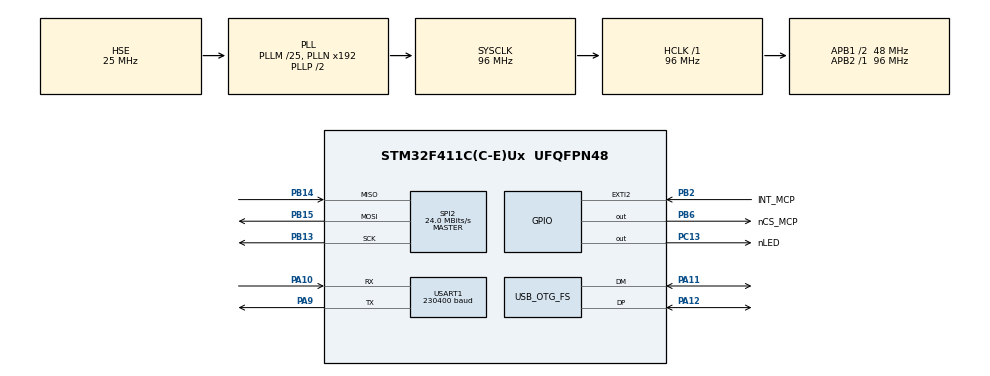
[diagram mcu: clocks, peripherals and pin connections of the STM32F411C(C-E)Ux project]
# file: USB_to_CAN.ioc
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Dma.Request0=USART1_RX
Dma.USART1_RX.0.Direction=DMA_PERIPH_TO_MEMORY
Dma.USART1_RX.0.FIFOMode=DMA_FIFOMODE_DISABLE
Dma.USART1_RX.0.Instance=DMA2_Stream2
Dma.USART1_RX.0.MemDataAlignment=DMA_MDATAALIGN_BYTE
Dma.USART1_RX.0.MemInc=DMA_MINC_ENABLE
Dma.USART1_RX.0.Mode=DMA_NORMAL
Dma.USART1_RX.0.PeriphDataAlignment=DMA_PDATAALIGN_BYTE
Dma.USART1_RX.0.PeriphInc=DMA_PINC_DISABLE
Dma.USART1_RX.0.Priority=DMA_PRIORITY_VERY_HIGH
Mcu.Family=STM32F4
Mcu.Name=STM32F411C(C-E)Ux
Mcu.Package=UFQFPN48
NVIC.DMA2_Stream2_IRQn=true\:0\:0\:false\:false\:true\:false\:true\:true
NVIC.OTG_FS_IRQn=true\:0\:0\:false\:false\:true\:true\:true\:true
NVIC.PriorityGroup=NVIC_PRIORITYGROUP_4
NVIC.USART1_IRQn=true\:0\:0\:false\:false\:true\:true\:true\:true
PA10.Mode=Asynchronous
PA10.Signal=USART1_RX
PA11.Mode=Device_Only
PA11.Signal=USB_OTG_FS_DM
PA12.Mode=Device_Only
PA12.Signal=USB_OTG_FS_DP
PA13.Mode=Serial_Wire
PA13.Signal=SYS_JTMS-SWDIO
PA14.Mode=Serial_Wire
PA14.Signal=SYS_JTCK-SWCLK
PA9.Mode=Asynchronous
PA9.Signal=USART1_TX
PB13.Mode=Full_Duplex_Master
PB13.Signal=SPI2_SCK
PB14.Mode=Full_Duplex_Master
PB14.Signal=SPI2_MISO
PB15.Mode=Full_Duplex_Master
PB15.Signal=SPI2_MOSI
PB2.GPIO_Label=INT_MCP
PB2.Signal=GPXTI2
PB6.GPIO_Label=nCS_MCP
PB6.Signal=GPIO_Output
PC13-ANTI_TAMP.GPIO_Label=nLED
PC13-ANTI_TAMP.PinState=GPIO_PIN_SET
PC13-ANTI_TAMP.Signal=GPIO_Output
PC14-OSC32_IN.Mode=LSE-External-Oscillator
PC14-OSC32_IN.Signal=RCC_OSC32_IN
PC15-OSC32_OUT.Mode=LSE-External-Oscillator
PC15-OSC32_OUT.Signal=RCC_OSC32_OUT
PH0\ -\ OSC_IN.Mode=HSE-External-Oscillator
PH0\ -\ OSC_IN.Signal=RCC_OSC_IN
PH1\ -\ OSC_OUT.Mode=HSE-External-Oscillator
PH1\ -\ OSC_OUT.Signal=RCC_OSC_OUT
ProjectManager.HeapSize=0x200
ProjectManager.StackSize=0x400
ProjectManager.TargetToolchain=STM32CubeIDE
RCC.48MHZClocksFreq_Value=48000000
RCC.AHBFreq_Value=96000000
RCC.APB1CLKDivider=RCC_HCLK_DIV2
RCC.APB1Freq_Value=48000000
RCC.APB1TimFreq_Value=96000000
RCC.APB2Freq_Value=96000000
RCC.APB2TimFreq_Value=96000000
RCC.CortexFreq_Value=96000000
RCC.HCLKFreq_Value=96000000
RCC.HSE_VALUE=25000000
RCC.HSI_VALUE=16000000
RCC.PLLM=25
RCC.SYSCLKFreq_VALUE=96000000
RCC.SYSCLKSource=RCC_SYSCLKSOURCE_PLLCLK
RCC.VCOOutputFreq_Value=192000000
SPI2.CalculateBaudRate=24.0 MBits/s
SPI2.Direction=SPI_DIRECTION_2LINES
SPI2.Mode=SPI_MODE_MASTER
SPI2.VirtualType=VM_MASTER
USART1.BaudRate=230400
USART1.OverSampling=UART_OVERSAMPLING_8
USART1.VirtualMode=VM_ASYNC
USB_DEVICE.CLASS_NAME_FS=CDC
USB_DEVICE.VirtualMode=Cdc
USB_DEVICE.VirtualModeFS=Cdc_FS
USB_OTG_FS.VirtualMode=Device_Only
VP_USB_DEVICE_VS_USB_DEVICE_CDC_FS.Mode=CDC_FS
board=custom

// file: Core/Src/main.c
/* USER CODE BEGIN Header */
/**
  ******************************************************************************
  * @file           : main.c
  * @brief          : Main program body
  ******************************************************************************
  * @attention
  *
  * Copyright (c) 2024 STMicroelectronics.
  * All rights reserved.
  *
  * This software is licensed under terms that can be found in the LICENSE file
  * in the root directory of this software component.
  * If no LICENSE file comes with this software, it is provided AS-IS.
  *
  ******************************************************************************
  */
/* USER CODE END Header */
#include "main.h"
#include "dma.h"
#include "spi.h"
#include "usart.h"
#include "usb_device.h"
#include "gpio.h"

/* USER CODE BEGIN Includes */
#include "Coms_Handler.h"
#include "CANSPI.h"
#include "usbd_cdc_if.h"
/* USER CODE END Includes */

/* USER CODE BEGIN PV */
uCAN_MSG txMessage;
uCAN_MSG rxMessage;

ComsInterface_t usb;
ComsInterface_t serial;
/* USER CODE END PV */

void SystemClock_Config(void);
/* USER CODE BEGIN PFP */
void USB_CDC_RxHandler(uint8_t*, uint32_t);
void HAL_UARTEx_RxEventCallback(UART_HandleTypeDef *huart, uint16_t size);
/* USER CODE END PFP */

int main(void)
{

  /* MCU Configuration--------------------------------------------------------*/

  /* Reset of all peripherals, Initializes the Flash interface and the Systick. */
  HAL_Init();

  /* Configure the system clock */
  SystemClock_Config();

  /* Initialize all configured peripherals */
  MX_GPIO_Init();
  MX_DMA_Init();
  MX_USB_DEVICE_Init();
  MX_USART1_UART_Init();
  MX_SPI2_Init();
  /* USER CODE BEGIN 2 */
  //CANSPI_Initialize();
  Comm_Init(&usb, COMM_USB, NULL);
  Comm_Init(&serial, COMM_UART, &huart1);

  /* USER CODE END 2 */

  /* Infinite loop */
  /* USER CODE BEGIN WHILE */
  while (1)
  {

	  DecodedPacket_t input;
	  DecodedPacket_t response;
	  Comm_Process(&usb);
	  Comm_Process(&serial);

	  input = Comm_GetPacket(&usb);
	  Comm_Send(&serial, &input);

	  response = Comm_GetPacket(&serial);
	  Comm_Send(&usb, &response);

//	  if(!input.invalid) {
//		  txMessage.frame.idType = dEXTENDED_CAN_MSG_ID_2_0B;
//		  txMessage.frame.id = input.command;
//		  txMessage.frame.dlc = input.length < 1 ? 1 : input.length;
//		  if(input.length >= 0) txMessage.frame.data0 = input.data[0];
//		  if(input.length > 1) txMessage.frame.data1 = input.data[1];
//		  if(input.length > 2) txMessage.frame.data2 = input.data[2];
//		  if(input.length > 3) txMessage.frame.data3 = input.data[3];
//		  if(input.length > 4) txMessage.frame.data4 = input.data[4];
//		  if(input.length > 5) txMessage.frame.data5 = input.data[5];
//		  if(input.length > 6) txMessage.frame.data6 = input.data[6];
//		  if(input.length > 7) txMessage.frame.data7 = input.data[7];
//		  CANSPI_Transmit(&txMessage);
//	  }

    /* USER CODE END WHILE */

  }
}

void SystemClock_Config(void)
{
  RCC_OscInitTypeDef RCC_OscInitStruct = {0};
  RCC_ClkInitTypeDef RCC_ClkInitStruct = {0};

  /** Configure the main internal regulator output voltage
  */
  __HAL_RCC_PWR_CLK_ENABLE();
  __HAL_PWR_VOLTAGESCALING_CONFIG(PWR_REGULATOR_VOLTAGE_SCALE1);

  /** Initializes the RCC Oscillators according to the specified parameters
  * in the RCC_OscInitTypeDef structure.
  */
  RCC_OscInitStruct.OscillatorType = RCC_OSCILLATORTYPE_HSE;
  RCC_OscInitStruct.HSEState = RCC_HSE_ON;
  RCC_OscInitStruct.PLL.PLLState = RCC_PLL_ON;
  RCC_OscInitStruct.PLL.PLLSource = RCC_PLLSOURCE_HSE;
  RCC_OscInitStruct.PLL.PLLM = 25;
  RCC_OscInitStruct.PLL.PLLN = 192;
  RCC_OscInitStruct.PLL.PLLP = RCC_PLLP_DIV2;
  RCC_OscInitStruct.PLL.PLLQ = 4;
  if (HAL_RCC_OscConfig(&RCC_OscInitStruct) != HAL_OK)
  {
    Error_Handler();
  }

  /** Initializes the CPU, AHB and APB buses clocks
  */
  RCC_ClkInitStruct.ClockType = RCC_CLOCKTYPE_HCLK|RCC_CLOCKTYPE_SYSCLK
                              |RCC_CLOCKTYPE_PCLK1|RCC_CLOCKTYPE_PCLK2;
  RCC_ClkInitStruct.SYSCLKSource = RCC_SYSCLKSOURCE_PLLCLK;
  RCC_ClkInitStruct.AHBCLKDivider = RCC_SYSCLK_DIV1;
  RCC_ClkInitStruct.APB1CLKDivider = RCC_HCLK_DIV2;
  RCC_ClkInitStruct.APB2CLKDivider = RCC_HCLK_DIV1;

  if (HAL_RCC_ClockConfig(&RCC_ClkInitStruct, FLASH_LATENCY_3) != HAL_OK)
  {
    Error_Handler();
  }
}

/* USER CODE BEGIN 4 */
void USB_CDC_RxHandler(uint8_t* Buf, uint32_t Len)
{
	Comm_Receive(&usb, Buf, Len);
}

void HAL_UARTEx_RxEventCallback(UART_HandleTypeDef *huart, uint16_t size) {
	Comm_Receive(&serial, 0, size);
}
/* USER CODE END 4 */

void Error_Handler(void)
{
  __disable_irq();
  while (1)
  {
  }
}
